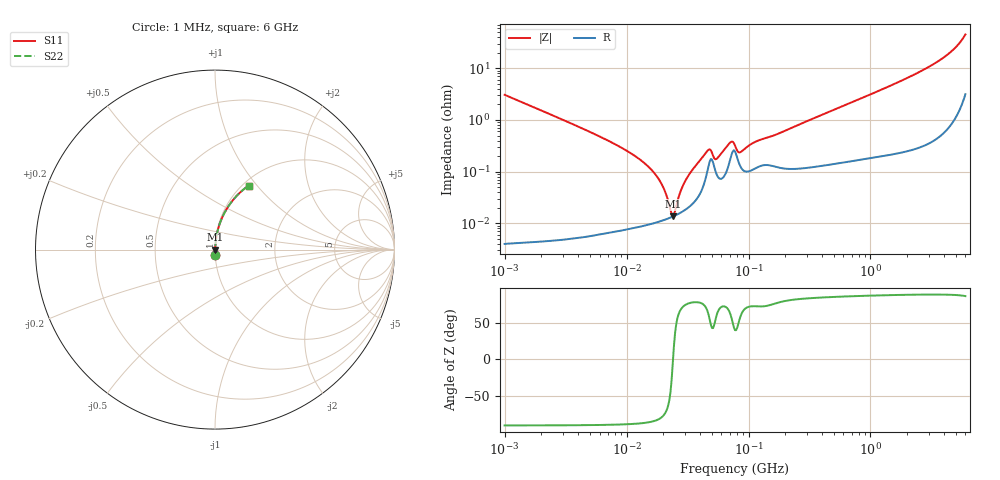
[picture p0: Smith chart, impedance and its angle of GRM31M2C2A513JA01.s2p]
!Murata Part Number: GRM31M2C2A513JA01
!These Parameters are Measured in Series Mode Connection
!Data Generated on Mar 30, 2021
!  o--ll--o
!Port1  Port2
!  o------o
!Operation Temp=25[degC], DC Bias Voltage=0[V]
!Freq. Start=1000[kHz] Stop=6[GHz] 401[Steps]
# Hz S RI R 50
!Freq.(Hz) S11(Real) S11(Imag) S21(Real) S21(Imag) S12(Real) S12(Imag) S22(Real) S22(Imag)
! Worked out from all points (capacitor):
!   401 points, 1 MHz to 6 GHz, reference 50 ohm
!   read as one part in series: C = 51.6 nF near 1.044 MHz
!   lowest |Z| = 13.6 mohm at 23.93 MHz (marker M1)
!   series resonance near 24.04 MHz, so ESL is about 850 pH
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1000000  0.000986 -0.0307  0.999 0.0307  0.999 0.0307  0.000986 -0.0307
4293785  0.000102 -0.00694  0.9999 0.00694  0.9999 0.00694  0.000102 -0.00694
1.142569e7  8.52e-05 -0.00209  0.9999 0.00209  0.9999 0.00209  8.52e-05 -0.00209
1.515906e7  9.57e-05 -0.00123  0.9999 0.00123  0.9999 0.00123  9.57e-05 -0.00123
1.843659e7  0.000108 -0.000698  0.9999 0.000698  0.9999 0.000698  0.000108 -0.000698
2.055453e7  0.000117 -0.000411  0.9999 0.000411  0.9999 0.000411  0.000117 -0.000411
2.291577e7  0.000129 -0.000127  0.9999 0.000127  0.9999 0.000127  0.000129 -0.000127
2.393455e7  0.000135 -1.2e-05  0.9999 1.2e-05  0.9999 1.2e-05  0.000135 -1.2e-05
2.499862e7  0.000141 0.000103  0.9999 -0.000103  0.9999 -0.000103  0.000141 0.000103
2.787038e7  0.000162 0.000399  0.9998 -0.000399  0.9998 -0.000399  0.000162 0.000399
3.040356e7  0.000184 0.000647  0.9998 -0.000647  0.9998 -0.000647  0.000184 0.000647
4.497189e7  0.000824 0.00222  0.9992 -0.00222  0.9992 -0.00222  0.000824 0.00222
4.800399e7  0.00157 0.0022  0.9984 -0.0022  0.9984 -0.0022  0.00157 0.0022
5.469524e7  0.000892 0.00153  0.9991 -0.00153  0.9991 -0.00153  0.000892 0.00153
7.100585e7  0.00178 0.00323  0.9982 -0.00323  0.9982 -0.00323  0.00178 0.00323
7.745967e7  0.00246 0.00204  0.9975 -0.00204  0.9975 -0.00204  0.00246 0.00204
8.635799e7  0.00123 0.00206  0.9988 -0.00206  0.9988 -0.00206  0.00123 0.00206
1.145757e8  0.00118 0.00363  0.9988 -0.00363  0.9988 -0.00363  0.00118 0.00363
3.325952e8  0.00133 0.0104  0.9987 -0.0104  0.9987 -0.0104  0.00133 0.0104
1.428092e9  0.00413 0.0449  0.9959 -0.0449  0.9959 -0.0449  0.00413 0.0449
3.638376e9  0.0237 0.1364  0.9763 -0.1364  0.9763 -0.1364  0.0237 0.1364
6e9  0.187 0.3565  0.813 -0.3565  0.813 -0.3565  0.187 0.3565
